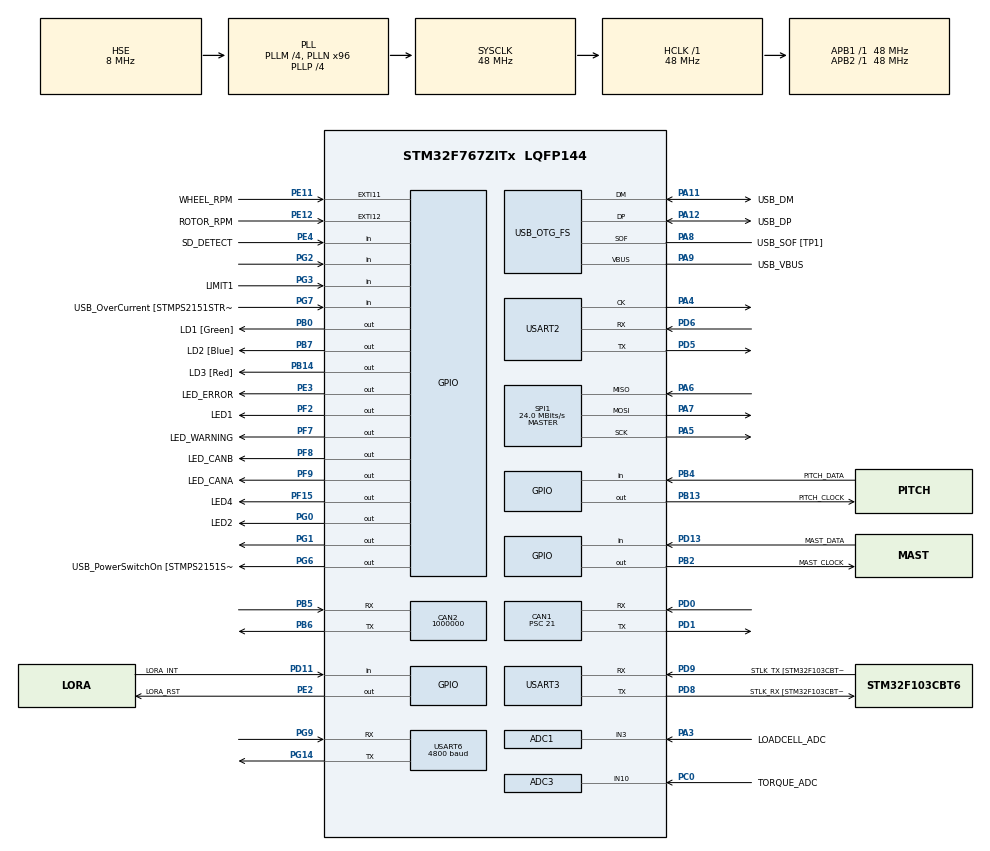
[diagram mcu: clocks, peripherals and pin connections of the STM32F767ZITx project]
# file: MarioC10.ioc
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ADC1.Channel-0\#ChannelRegularConversion=ADC_CHANNEL_3
ADC1.ClockPrescaler=ADC_CLOCK_SYNC_PCLK_DIV4
ADC1.NbrOfConversionFlag=1
ADC1.Rank-0\#ChannelRegularConversion=1
ADC1.SamplingTime-0\#ChannelRegularConversion=ADC_SAMPLETIME_3CYCLES
ADC1.master=1
ADC3.Channel-2\#ChannelRegularConversion=ADC_CHANNEL_10
ADC3.ClockPrescaler=ADC_CLOCK_SYNC_PCLK_DIV4
ADC3.NbrOfConversionFlag=1
ADC3.Rank-2\#ChannelRegularConversion=1
ADC3.SamplingTime-2\#ChannelRegularConversion=ADC_SAMPLETIME_3CYCLES
CAN1.BS1=CAN_BS1_12TQ
CAN1.BS2=CAN_BS2_4TQ
CAN1.CalculateBaudRate=134453
CAN1.CalculateTimeBit=7437
CAN1.CalculateTimeQuantum=437.5
CAN1.Prescaler=21
CAN2.CalculateBaudRate=1000000
CAN2.CalculateTimeBit=1000
CAN2.CalculateTimeQuantum=333.3333333333333
Mcu.Family=STM32F7
Mcu.Name=STM32F767ZITx
Mcu.Package=LQFP144
NVIC.CAN1_RX0_IRQn=true\:0\:0\:false\:false\:true\:true\:true
NVIC.EXTI15_10_IRQn=true\:0\:0\:false\:false\:true\:true\:true
NVIC.PriorityGroup=NVIC_PRIORITYGROUP_4
NVIC.TIM3_IRQn=true\:0\:0\:false\:false\:true\:true\:true
NVIC.USART6_IRQn=true\:0\:0\:false\:false\:true\:true\:true
PA1.GPIO_Label=RMII_REF_CLK [LAN8742A-CZ-TR_REFCLK0]
PA1.Signal=ETH_REF_CLK
PA10.GPIO_Label=USB_ID
PA10.Signal=USB_OTG_FS_ID
PA11.GPIO_Label=USB_DM
PA11.Mode=Device_Only
PA11.Signal=USB_OTG_FS_DM
PA12.GPIO_Label=USB_DP
PA12.Mode=Device_Only
PA12.Signal=USB_OTG_FS_DP
PA13.GPIO_Label=TMS
PA13.Mode=Serial_Wire
PA13.Signal=SYS_JTMS-SWDIO
PA14.GPIO_Label=TCK
PA14.Mode=Serial_Wire
PA14.Signal=SYS_JTCK-SWCLK
PA2.GPIO_Label=RMII_MDIO [LAN8742A-CZ-TR_MDIO]
PA2.Signal=ETH_MDIO
PA3.GPIO_Label=LOADCELL_ADC
PA3.Signal=ADCx_IN3
PA4.Mode=Synchronous
PA4.Signal=USART2_CK
PA5.Mode=Full_Duplex_Master
PA5.Signal=SPI1_SCK
PA6.Mode=Full_Duplex_Master
PA6.Signal=SPI1_MISO
PA7.Mode=Full_Duplex_Master
PA7.Signal=SPI1_MOSI
PA8.GPIO_Label=USB_SOF [TP1]
PA8.Mode=Activate_SOF_FS
PA8.Signal=USB_OTG_FS_SOF
PA9.GPIO_Label=USB_VBUS
PA9.Mode=Activate_VBUS
PA9.Signal=USB_OTG_FS_VBUS
PB0.GPIO_Label=LD1 [Green]
PB0.Signal=GPIO_Output
PB13.GPIO_Label=PITCH_CLOCK
PB13.Signal=GPIO_Output
PB14.GPIO_Label=LD3 [Red]
PB14.Signal=GPIO_Output
PB2.GPIO_Label=MAST_CLOCK
PB2.Signal=GPIO_Output
PB3.GPIO_Label=SWO
PB3.Signal=SYS_JTDO-SWO
PB4.GPIO_Label=PITCH_DATA
PB4.Signal=GPIO_Input
PB5.Mode=CAN_Activate
PB5.Signal=CAN2_RX
PB6.Mode=CAN_Activate
PB6.Signal=CAN2_TX
PB7.GPIO_Label=LD2 [Blue]
PB7.Signal=GPIO_Output
PC0.GPIO_Label=TORQUE_ADC
PC0.Signal=ADCx_IN10
PC1.GPIO_Label=RMII_MDC [LAN8742A-CZ-TR_MDC]
PC1.Signal=ETH_MDC
PC14/OSC32_IN.Mode=LSE-External-Oscillator
PC14/OSC32_IN.Signal=RCC_OSC32_IN
PC15/OSC32_OUT.Mode=LSE-External-Oscillator
PC15/OSC32_OUT.Signal=RCC_OSC32_OUT
PD0.Mode=CAN_Activate
PD0.Signal=CAN1_RX
PD1.Mode=CAN_Activate
PD1.Signal=CAN1_TX
PD11.GPIO_Label=LORA_INT
PD11.Signal=GPIO_Input
PD13.GPIO_Label=MAST_DATA
PD13.Signal=GPIO_Input
PD3.Signal=USART2_CTS
PD4.Signal=USART2_RTS
PD5.Mode=Synchronous
PD5.Signal=USART2_TX
PD6.Mode=Synchronous
PD6.Signal=USART2_RX
PD8.GPIO_Label=STLK_RX [STM32F103CBT6_PA3]
PD8.Mode=Asynchronous
PD8.Signal=USART3_TX
PD9.GPIO_Label=STLK_TX [STM32F103CBT6_PA2]
PD9.Mode=Asynchronous
PD9.Signal=USART3_RX
PE11.GPIO_Label=WHEEL_RPM
PE11.Signal=GPXTI11
PE12.GPIO_Label=ROTOR_RPM
PE12.Signal=GPXTI12
PE2.GPIO_Label=LORA_RST
PE2.Signal=GPIO_Output
PE3.GPIO_Label=LED_ERROR
PE3.Signal=GPIO_Output
PE4.GPIO_Label=SD_DETECT
PE4.Signal=GPIO_Input
PF15.GPIO_Label=LED4
PF15.Signal=GPIO_Output
PF2.GPIO_Label=LED1
PF2.Signal=GPIO_Output
PF7.GPIO_Label=LED_WARNING
PF7.Signal=GPIO_Output
PF8.GPIO_Label=LED_CANB
PF8.Signal=GPIO_Output
PF9.GPIO_Label=LED_CANA
PF9.Signal=GPIO_Output
PG0.GPIO_Label=LED2
PG0.Signal=GPIO_Output
PG1.Signal=GPIO_Output
PG11.GPIO_Label=RMII_TX_EN [LAN8742A-CZ-TR_TXEN]
PG11.Signal=ETH_TX_EN
PG13.GPIO_Label=RMII_TXD0 [LAN8742A-CZ-TR_TXD0]
PG13.Signal=ETH_TXD0
PG14.Mode=Asynchronous
PG14.Signal=USART6_TX
PG2.Signal=GPIO_Input
PG3.GPIO_Label=LIMIT1
PG3.Signal=GPIO_Input
PG6.GPIO_Label=USB_PowerSwitchOn [STMPS2151STR_EN]
PG6.Signal=GPIO_Output
PG7.GPIO_Label=USB_OverCurrent [STMPS2151STR_FAULT]
PG7.Signal=GPIO_Input
PG9.Mode=Asynchronous
PG9.Signal=USART6_RX
PH0/OSC_IN.GPIO_Label=MCO [STM32F103CBT6_PA8]
PH0/OSC_IN.Mode=HSE-External-Clock-Source
PH0/OSC_IN.Signal=RCC_OSC_IN
PH1/OSC_OUT.Mode=HSE-External-Clock-Source
PH1/OSC_OUT.Signal=RCC_OSC_OUT
ProjectManager.HeapSize=0x200
ProjectManager.StackSize=0x400
ProjectManager.TargetToolchain=STM32CubeIDE
RCC.48MHZClocksFreq_Value=24000000
RCC.AHBFreq_Value=48000000
RCC.APB1Freq_Value=48000000
RCC.APB1TimFreq_Value=48000000
RCC.APB2Freq_Value=48000000
RCC.APB2TimFreq_Value=48000000
RCC.CortexFreq_Value=48000000
RCC.HCLKFreq_Value=48000000
RCC.HSE_VALUE=8000000
RCC.HSI_VALUE=16000000
RCC.PLLM=4
RCC.PLLMUL=RCC_PLL_MUL9
RCC.PLLN=96
RCC.PLLP=RCC_PLLP_DIV4
RCC.PLLQ=4
RCC.PRESCALERUSB=RCC_USBCLKSOURCE_PLL_DIV1_5
RCC.SYSCLKFreq_VALUE=48000000
RCC.SYSCLKSource=RCC_SYSCLKSOURCE_PLLCLK
RCC.SYSCLKSourceVirtual=RCC_SYSCLKSOURCE_PLLCLK
RCC.USBFreq_Value=48000000
RCC.VCOOutputFreq_Value=192000000
SH.ADCx_IN10.0=ADC3_IN10,IN10
SH.ADCx_IN3.0=ADC1_IN3,IN3
SPI1.CalculateBaudRate=24.0 MBits/s
SPI1.Direction=SPI_DIRECTION_2LINES
SPI1.Mode=SPI_MODE_MASTER
SPI1.VirtualType=VM_MASTER
TIM3.Channel-Output\ Compare1\ No\ Output=TIM_CHANNEL_1
TIM3.Period=20000
TIM3.Prescaler=480
USART2.VirtualMode-Synchronous=VM_SYNC
USART3.VirtualMode-Asynchronous=VM_ASYNC
USART6.BaudRate=4800
USART6.VirtualMode-Asynchronous=VM_ASYNC
USB_OTG_FS.VirtualMode=Device_Only
VP_TIM3_VS_ClockSourceINT.Mode=Internal
VP_TIM3_VS_no_output1.Mode=Output Compare1 No Output
board=NUCLEO-F767ZI

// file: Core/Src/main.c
/* USER CODE BEGIN Header */
/**
  ******************************************************************************
  * @file           : main.c
  * @brief          : Main program body
  ******************************************************************************
  * @attention
  *
  * <h2><center>&copy; Copyright (c) 2021 STMicroelectronics.
  * All rights reserved.</center></h2>
  *
  * This software component is licensed by ST under BSD 3-Clause license,
  * the "License"; You may not use this file except in compliance with the
  * License. You may obtain a copy of the License at:
  *                        opensource.org/licenses/BSD-3-Clause
  *
  ******************************************************************************
  */
/* USER CODE END Header */
#include "main.h"

/* USER CODE BEGIN Includes */
#include "string.h"
#include "stdio.h"
/* USER CODE END Includes */

ADC_HandleTypeDef hadc1;
ADC_HandleTypeDef hadc3;

CAN_HandleTypeDef hcan1;
CAN_HandleTypeDef hcan2;

SPI_HandleTypeDef hspi1;

TIM_HandleTypeDef htim3;

USART_HandleTypeDef husart2;
UART_HandleTypeDef huart3;
UART_HandleTypeDef huart6;

PCD_HandleTypeDef hpcd_USB_OTG_FS;

/* USER CODE BEGIN PV */
uint8_t aRxBuffer[256];
/* USER CODE END PV */

void SystemClock_Config(void);
static void MX_GPIO_Init(void);
static void MX_USB_OTG_FS_PCD_Init(void);
static void MX_CAN1_Init(void);
static void MX_ADC1_Init(void);
static void MX_ADC3_Init(void);
static void MX_CAN2_Init(void);
static void MX_SPI1_Init(void);
static void MX_USART2_Init(void);
static void MX_USART6_UART_Init(void);
static void MX_USART3_UART_Init(void);
static void MX_TIM3_Init(void);
/* USER CODE BEGIN PFP */

HAL_StatusTypeDef TransmitCAN(uint8_t id, uint8_t* buf, uint8_t size);

/* USER CODE END PFP */

/* USER CODE BEGIN 0 */
HAL_StatusTypeDef TransmitCAN(uint8_t id, uint8_t* buf, uint8_t size)
{
	CAN_TxHeaderTypeDef msg;
	msg.StdId = id;
	msg.IDE = CAN_ID_STD;
	msg.RTR = CAN_RTR_DATA;
	msg.DLC = size;
	msg.TransmitGlobalTime = DISABLE;

	uint32_t mb;
	HAL_StatusTypeDef ret = HAL_CAN_AddTxMessage(&hcan1, &msg, buf, &mb);
	if (ret != HAL_OK)
		return ret;

	// Update the CAN led
	// ToggleLed(LED_CAN);
	HAL_GPIO_TogglePin(LED_CANA_GPIO_Port, LED_CANA_Pin);
	return ret;
}
/* USER CODE END 0 */

int main(void)
{
  /* USER CODE BEGIN 1 */
	index_buff = 0;
	ws_receive_flag = 0;
	timer3_flag = 0;
	wheel_rpm_speed = 0;
	rotor_rpm_speed = 0;

	can1_recv_flag = 0;

  /* USER CODE END 1 */

  /* MCU Configuration--------------------------------------------------------*/

  /* Reset of all peripherals, Initializes the Flash interface and the Systick. */
  HAL_Init();

  /* Configure the system clock */
  SystemClock_Config();

  /* Initialize all configured peripherals */
  MX_GPIO_Init();
  MX_USB_OTG_FS_PCD_Init();
  MX_CAN1_Init();
  MX_ADC1_Init();
  MX_ADC3_Init();
  MX_CAN2_Init();
  MX_SPI1_Init();
  MX_USART2_Init();
  MX_USART6_UART_Init();
  MX_USART3_UART_Init();
  MX_TIM3_Init();
  /* USER CODE BEGIN 2 */
  HAL_UART_Receive_IT(&huart6, (uint8_t *)aRxBuffer, sizeof(aRxBuffer));
  /* USER CODE END 2 */

  /* Infinite loop */
  while (1)
  {

    /* USER CODE BEGIN 3 */

	  HAL_Delay(10); // Execute main loop every 10 ms

	  // Check pushbuttons status
	  // uint8_t pb1_val = HAL_GPIO_ReadPin();

	  if(timer3_flag == 1)
	  {
		  timer3_flag = 0;

		  // Send CAN frame
		  static uint8_t x = 0;
		  uint8_t data[4] = { 0,1,2,x++ };
		  HAL_StatusTypeDef can_success = TransmitCAN(0xAA, data, 4);
		  if (can_success != HAL_OK)
		  {
			  HAL_GPIO_WritePin(LED_ERROR_GPIO_Port, LED_ERROR_Pin, 1);
		  }
		  else
		  {
			  HAL_GPIO_WritePin(LED_ERROR_GPIO_Port, LED_ERROR_Pin, 0);
		  }

		  // Blink led
		  HAL_GPIO_TogglePin(LD1_GPIO_Port, LD1_Pin);		// Led 1 on nucleo
		  HAL_GPIO_TogglePin(LED1_GPIO_Port, LED1_Pin);

		  /*
		  uint8_t message[256] = {0};
		  snprintf((char*)message, sizeof(message), "Wheel RPM = %u \n\r", (unsigned int)wheel_rpm_speed);
		  HAL_UART_Transmit(&huart3, message, sizeof(message), 10);

		  snprintf((char*)message, sizeof(message), "Rotor RPM = %u \n\r", (unsigned int)rotor_rpm_speed);
		  HAL_UART_Transmit(&huart3, message, sizeof(message), 10);
		  */
	  }

	  // Check for can messages
	  if (can1_recv_flag)
	  {
		  can1_recv_flag = 0;

		  // Blink LED CANA led
		  HAL_GPIO_TogglePin(LED_CANA_GPIO_Port, LED_CANA_Pin);

		  uint32_t id = pRxHeader.StdId;
		  uint32_t size = pRxHeader.DLC;

		  uint8_t data = can_recv_buffer[0];

		  uint8_t message[256] = {0};
		  snprintf((char*)message, sizeof(message), "Received CAN frame  ID = %d,  size = %d,  data = %d", (int)id, (int)size, (int)data);
		  HAL_UART_Transmit(&huart3, message, sizeof(message), 10);
	  }

	  /*
	  if(ws_receive_flag == 1) {
		  static char frame_begin[] = "$IIMWV";

		  static int Led_Toggle=0;
		  HAL_GPIO_WritePin(LD1_GPIO_Port,LD1_Pin,Led_Toggle);
		  Led_Toggle=!Led_Toggle;

		  __disable_irq();

		  ws_receive_flag =0;
		  index_buff=0;

		  static uint8_t ws_message[64] = {0};
		  memcpy(ws_message,rx_buff,sizeof(ws_message));
		  __enable_irq();

		  HAL_UART_Transmit(&huart3,ws_message,sizeof(ws_message),10);
		  /*if (strlen((char*)ws_message) >= 6){

			  uint8_t begin_frame[7]={0};
			  memcpy(begin_frame,ws_message,6);

			 		  if (0 ==strcmp(begin_frame,frame_begin))
			 		  {

			 			  HAL_UART_Transmit(&huart3,ws_message,sizeof(ws_message),10);

			 		  }
		  }*/

		  /*
		  static uint8_t ws_message[64];
		  memcpy(ws_message,rx_buff,sizeof(ws_message));

		  //char vitesse[7]="";
		  char begin_tram[6]="";
		  memcpy(begin_tram,ws_message,sizeof(begin_tram));
		  begin_tram[5]=0;
		  if(!strcmp(frame_begin,begin_tram)){
			  //memcpy(vitesse,ws_message,sizeof(ws_message));
			  //vitesse[10]=ws_message;
			  //HAL_UART_Transmit(&huart3,vitesse,sizeof(vitesse),10);
			  HAL_UART_Transmit(&huart3,ws_message,sizeof(ws_message),10);

		  }

		 // ws_message[index_buff]=0;

		  //HAL_UART_Transmit(&huart3,ws_message,sizeof(ws_message),10);// Sending in normal mode

	  }*/
  }
  /* USER CODE END 3 */
}

void SystemClock_Config(void)
{
  RCC_OscInitTypeDef RCC_OscInitStruct = {0};
  RCC_ClkInitTypeDef RCC_ClkInitStruct = {0};

  /** Configure LSE Drive Capability
  */
  HAL_PWR_EnableBkUpAccess();
  /** Configure the main internal regulator output voltage
  */
  __HAL_RCC_PWR_CLK_ENABLE();
  __HAL_PWR_VOLTAGESCALING_CONFIG(PWR_REGULATOR_VOLTAGE_SCALE3);
  /** Initializes the RCC Oscillators according to the specified parameters
  * in the RCC_OscInitTypeDef structure.
  */
  RCC_OscInitStruct.OscillatorType = RCC_OSCILLATORTYPE_HSE;
  RCC_OscInitStruct.HSEState = RCC_HSE_BYPASS;
  RCC_OscInitStruct.PLL.PLLState = RCC_PLL_ON;
  RCC_OscInitStruct.PLL.PLLSource = RCC_PLLSOURCE_HSE;
  RCC_OscInitStruct.PLL.PLLM = 4;
  RCC_OscInitStruct.PLL.PLLN = 96;
  RCC_OscInitStruct.PLL.PLLP = RCC_PLLP_DIV4;
  RCC_OscInitStruct.PLL.PLLQ = 4;
  RCC_OscInitStruct.PLL.PLLR = 2;
  if (HAL_RCC_OscConfig(&RCC_OscInitStruct) != HAL_OK)
  {
    Error_Handler();
  }
  /** Activate the Over-Drive mode
  */
  if (HAL_PWREx_EnableOverDrive() != HAL_OK)
  {
    Error_Handler();
  }
  /** Initializes the CPU, AHB and APB buses clocks
  */
  RCC_ClkInitStruct.ClockType = RCC_CLOCKTYPE_HCLK|RCC_CLOCKTYPE_SYSCLK
                              |RCC_CLOCKTYPE_PCLK1|RCC_CLOCKTYPE_PCLK2;
  RCC_ClkInitStruct.SYSCLKSource = RCC_SYSCLKSOURCE_PLLCLK;
  RCC_ClkInitStruct.AHBCLKDivider = RCC_SYSCLK_DIV1;
  RCC_ClkInitStruct.APB1CLKDivider = RCC_HCLK_DIV1;
  RCC_ClkInitStruct.APB2CLKDivider = RCC_HCLK_DIV1;

  if (HAL_RCC_ClockConfig(&RCC_ClkInitStruct, FLASH_LATENCY_1) != HAL_OK)
  {
    Error_Handler();
  }
}

static void MX_ADC1_Init(void)
{

  ADC_ChannelConfTypeDef sConfig = {0};

  /** Configure the global features of the ADC (Clock, Resolution, Data Alignment and number of conversion)
  */
  hadc1.Instance = ADC1;
  hadc1.Init.ClockPrescaler = ADC_CLOCK_SYNC_PCLK_DIV4;
  hadc1.Init.Resolution = ADC_RESOLUTION_12B;
  hadc1.Init.ScanConvMode = ADC_SCAN_DISABLE;
  hadc1.Init.ContinuousConvMode = DISABLE;
  hadc1.Init.DiscontinuousConvMode = DISABLE;
  hadc1.Init.ExternalTrigConvEdge = ADC_EXTERNALTRIGCONVEDGE_NONE;
  hadc1.Init.ExternalTrigConv = ADC_SOFTWARE_START;
  hadc1.Init.DataAlign = ADC_DATAALIGN_RIGHT;
  hadc1.Init.NbrOfConversion = 1;
  hadc1.Init.DMAContinuousRequests = DISABLE;
  hadc1.Init.EOCSelection = ADC_EOC_SINGLE_CONV;
  if (HAL_ADC_Init(&hadc1) != HAL_OK)
  {
    Error_Handler();
  }
  /** Configure for the selected ADC regular channel its corresponding rank in the sequencer and its sample time.
  */
  sConfig.Channel = ADC_CHANNEL_3;
  sConfig.Rank = ADC_REGULAR_RANK_1;
  sConfig.SamplingTime = ADC_SAMPLETIME_3CYCLES;
  if (HAL_ADC_ConfigChannel(&hadc1, &sConfig) != HAL_OK)
  {
    Error_Handler();
  }

}

static void MX_ADC3_Init(void)
{

  ADC_ChannelConfTypeDef sConfig = {0};

  /** Configure the global features of the ADC (Clock, Resolution, Data Alignment and number of conversion)
  */
  hadc3.Instance = ADC3;
  hadc3.Init.ClockPrescaler = ADC_CLOCK_SYNC_PCLK_DIV4;
  hadc3.Init.Resolution = ADC_RESOLUTION_12B;
  hadc3.Init.ScanConvMode = ADC_SCAN_DISABLE;
  hadc3.Init.ContinuousConvMode = DISABLE;
  hadc3.Init.DiscontinuousConvMode = DISABLE;
  hadc3.Init.ExternalTrigConvEdge = ADC_EXTERNALTRIGCONVEDGE_NONE;
  hadc3.Init.ExternalTrigConv = ADC_SOFTWARE_START;
  hadc3.Init.DataAlign = ADC_DATAALIGN_RIGHT;
  hadc3.Init.NbrOfConversion = 1;
  hadc3.Init.DMAContinuousRequests = DISABLE;
  hadc3.Init.EOCSelection = ADC_EOC_SINGLE_CONV;
  if (HAL_ADC_Init(&hadc3) != HAL_OK)
  {
    Error_Handler();
  }
  /** Configure for the selected ADC regular channel its corresponding rank in the sequencer and its sample time.
  */
  sConfig.Channel = ADC_CHANNEL_10;
  sConfig.Rank = ADC_REGULAR_RANK_1;
  sConfig.SamplingTime = ADC_SAMPLETIME_3CYCLES;
  if (HAL_ADC_ConfigChannel(&hadc3, &sConfig) != HAL_OK)
  {
    Error_Handler();
  }

}

static void MX_CAN1_Init(void)
{

  hcan1.Instance = CAN1;
  hcan1.Init.Prescaler = 21;
  hcan1.Init.Mode = CAN_MODE_NORMAL;
  hcan1.Init.SyncJumpWidth = CAN_SJW_1TQ;
  hcan1.Init.TimeSeg1 = CAN_BS1_12TQ;
  hcan1.Init.TimeSeg2 = CAN_BS2_4TQ;
  hcan1.Init.TimeTriggeredMode = DISABLE;
  hcan1.Init.AutoBusOff = DISABLE;
  hcan1.Init.AutoWakeUp = DISABLE;
  hcan1.Init.AutoRetransmission = DISABLE;
  hcan1.Init.ReceiveFifoLocked = DISABLE;
  hcan1.Init.TransmitFifoPriority = DISABLE;
  if (HAL_CAN_Init(&hcan1) != HAL_OK)
  {
    Error_Handler();
  }
  /* USER CODE BEGIN CAN1_Init 2 */
  	CAN_FilterTypeDef sf;
	sf.FilterMaskIdHigh = 0x0000;
	sf.FilterMaskIdLow = 0x0000;
	sf.FilterFIFOAssignment = CAN_FILTER_FIFO0;
	sf.FilterBank = 0;
	sf.FilterMode = CAN_FILTERMODE_IDMASK;
	sf.FilterScale = CAN_FILTERSCALE_32BIT;
	sf.FilterActivation = CAN_FILTER_ENABLE;
	if (HAL_CAN_ConfigFilter(&hcan1, &sf) != HAL_OK)
	{
	  Error_Handler();
	}
	//if (HAL_CAN_RegisterCallback(&hcan1, HAL_CAN_RX_FIFO0_MSG_PENDING_CB_ID, can_irq))
	//{
	//	  Error_Handler();
	//}
	if (HAL_CAN_Start(&hcan1) != HAL_OK)
	{
		Error_Handler();
	}
	if (HAL_CAN_ActivateNotification(&hcan1, CAN_IT_RX_FIFO0_MSG_PENDING) != HAL_OK)
	{
		Error_Handler();
	}
  /* USER CODE END CAN1_Init 2 */

}

static void MX_CAN2_Init(void)
{

  hcan2.Instance = CAN2;
  hcan2.Init.Prescaler = 16;
  hcan2.Init.Mode = CAN_MODE_NORMAL;
  hcan2.Init.SyncJumpWidth = CAN_SJW_1TQ;
  hcan2.Init.TimeSeg1 = CAN_BS1_1TQ;
  hcan2.Init.TimeSeg2 = CAN_BS2_1TQ;
  hcan2.Init.TimeTriggeredMode = DISABLE;
  hcan2.Init.AutoBusOff = DISABLE;
  hcan2.Init.AutoWakeUp = DISABLE;
  hcan2.Init.AutoRetransmission = DISABLE;
  hcan2.Init.ReceiveFifoLocked = DISABLE;
  hcan2.Init.TransmitFifoPriority = DISABLE;
  if (HAL_CAN_Init(&hcan2) != HAL_OK)
  {
    Error_Handler();
  }

}

static void MX_SPI1_Init(void)
{

  /* SPI1 parameter configuration*/
  hspi1.Instance = SPI1;
  hspi1.Init.Mode = SPI_MODE_MASTER;
  hspi1.Init.Direction = SPI_DIRECTION_2LINES;
  hspi1.Init.DataSize = SPI_DATASIZE_4BIT;
  hspi1.Init.CLKPolarity = SPI_POLARITY_LOW;
  hspi1.Init.CLKPhase = SPI_PHASE_1EDGE;
  hspi1.Init.NSS = SPI_NSS_SOFT;
  hspi1.Init.BaudRatePrescaler = SPI_BAUDRATEPRESCALER_2;
  hspi1.Init.FirstBit = SPI_FIRSTBIT_MSB;
  hspi1.Init.TIMode = SPI_TIMODE_DISABLE;
  hspi1.Init.CRCCalculation = SPI_CRCCALCULATION_DISABLE;
  hspi1.Init.CRCPolynomial = 7;
  hspi1.Init.CRCLength = SPI_CRC_LENGTH_DATASIZE;
  hspi1.Init.NSSPMode = SPI_NSS_PULSE_ENABLE;
  if (HAL_SPI_Init(&hspi1) != HAL_OK)
  {
    Error_Handler();
  }

}

static void MX_TIM3_Init(void)
{

  TIM_ClockConfigTypeDef sClockSourceConfig = {0};
  TIM_MasterConfigTypeDef sMasterConfig = {0};
  TIM_OC_InitTypeDef sConfigOC = {0};

  htim3.Instance = TIM3;
  htim3.Init.Prescaler = 480;
  htim3.Init.CounterMode = TIM_COUNTERMODE_UP;
  htim3.Init.Period = 20000;
  htim3.Init.ClockDivision = TIM_CLOCKDIVISION_DIV1;
  htim3.Init.AutoReloadPreload = TIM_AUTORELOAD_PRELOAD_DISABLE;
  if (HAL_TIM_Base_Init(&htim3) != HAL_OK)
  {
    Error_Handler();
  }
  sClockSourceConfig.ClockSource = TIM_CLOCKSOURCE_INTERNAL;
  if (HAL_TIM_ConfigClockSource(&htim3, &sClockSourceConfig) != HAL_OK)
  {
    Error_Handler();
  }
  if (HAL_TIM_OC_Init(&htim3) != HAL_OK)
  {
    Error_Handler();
  }
  sMasterConfig.MasterOutputTrigger = TIM_TRGO_RESET;
  sMasterConfig.MasterSlaveMode = TIM_MASTERSLAVEMODE_DISABLE;
  if (HAL_TIMEx_MasterConfigSynchronization(&htim3, &sMasterConfig) != HAL_OK)
  {
    Error_Handler();
  }
  sConfigOC.OCMode = TIM_OCMODE_TIMING;
  sConfigOC.Pulse = 0;
  sConfigOC.OCPolarity = TIM_OCPOLARITY_HIGH;
  sConfigOC.OCFastMode = TIM_OCFAST_DISABLE;
  if (HAL_TIM_OC_ConfigChannel(&htim3, &sConfigOC, TIM_CHANNEL_1) != HAL_OK)
  {
    Error_Handler();
  }
  /* USER CODE BEGIN TIM3_Init 2 */
  HAL_TIM_Base_Start_IT(&htim3);
  /* USER CODE END TIM3_Init 2 */

}

static void MX_USART2_Init(void)
{

  husart2.Instance = USART2;
  husart2.Init.BaudRate = 115200;
  husart2.Init.WordLength = USART_WORDLENGTH_8B;
  husart2.Init.StopBits = USART_STOPBITS_1;
  husart2.Init.Parity = USART_PARITY_NONE;
  husart2.Init.Mode = USART_MODE_TX_RX;
  husart2.Init.CLKPolarity = USART_POLARITY_LOW;
  husart2.Init.CLKPhase = USART_PHASE_1EDGE;
  husart2.Init.CLKLastBit = USART_LASTBIT_DISABLE;
  if (HAL_USART_Init(&husart2) != HAL_OK)
  {
    Error_Handler();
  }

}

static void MX_USART3_UART_Init(void)
{

  huart3.Instance = USART3;
  huart3.Init.BaudRate = 115200;
  huart3.Init.WordLength = UART_WORDLENGTH_8B;
  huart3.Init.StopBits = UART_STOPBITS_1;
  huart3.Init.Parity = UART_PARITY_NONE;
  huart3.Init.Mode = UART_MODE_TX_RX;
  huart3.Init.HwFlowCtl = UART_HWCONTROL_NONE;
  huart3.Init.OverSampling = UART_OVERSAMPLING_16;
  huart3.Init.OneBitSampling = UART_ONE_BIT_SAMPLE_DISABLE;
  huart3.AdvancedInit.AdvFeatureInit = UART_ADVFEATURE_NO_INIT;
  if (HAL_UART_Init(&huart3) != HAL_OK)
  {
    Error_Handler();
  }

}

static void MX_USART6_UART_Init(void)
{

  huart6.Instance = USART6;
  huart6.Init.BaudRate = 4800;
  huart6.Init.WordLength = UART_WORDLENGTH_8B;
  huart6.Init.StopBits = UART_STOPBITS_1;
  huart6.Init.Parity = UART_PARITY_NONE;
  huart6.Init.Mode = UART_MODE_TX_RX;
  huart6.Init.HwFlowCtl = UART_HWCONTROL_NONE;
  huart6.Init.OverSampling = UART_OVERSAMPLING_16;
  huart6.Init.OneBitSampling = UART_ONE_BIT_SAMPLE_DISABLE;
  huart6.AdvancedInit.AdvFeatureInit = UART_ADVFEATURE_NO_INIT;
  if (HAL_UART_Init(&huart6) != HAL_OK)
  {
    Error_Handler();
  }

}

static void MX_USB_OTG_FS_PCD_Init(void)
{

  hpcd_USB_OTG_FS.Instance = USB_OTG_FS;
  hpcd_USB_OTG_FS.Init.dev_endpoints = 6;
  hpcd_USB_OTG_FS.Init.speed = PCD_SPEED_FULL;
  hpcd_USB_OTG_FS.Init.dma_enable = DISABLE;
  hpcd_USB_OTG_FS.Init.phy_itface = PCD_PHY_EMBEDDED;
  hpcd_USB_OTG_FS.Init.Sof_enable = ENABLE;
  hpcd_USB_OTG_FS.Init.low_power_enable = DISABLE;
  hpcd_USB_OTG_FS.Init.lpm_enable = DISABLE;
  hpcd_USB_OTG_FS.Init.vbus_sensing_enable = ENABLE;
  hpcd_USB_OTG_FS.Init.use_dedicated_ep1 = DISABLE;
  if (HAL_PCD_Init(&hpcd_USB_OTG_FS) != HAL_OK)
  {
    Error_Handler();
  }

}

static void MX_GPIO_Init(void)
{
  GPIO_InitTypeDef GPIO_InitStruct = {0};

  /* GPIO Ports Clock Enable */
  __HAL_RCC_GPIOE_CLK_ENABLE();
  __HAL_RCC_GPIOC_CLK_ENABLE();
  __HAL_RCC_GPIOF_CLK_ENABLE();
  __HAL_RCC_GPIOH_CLK_ENABLE();
  __HAL_RCC_GPIOA_CLK_ENABLE();
  __HAL_RCC_GPIOB_CLK_ENABLE();
  __HAL_RCC_GPIOG_CLK_ENABLE();
  __HAL_RCC_GPIOD_CLK_ENABLE();

  /*Configure GPIO pin Output Level */
  HAL_GPIO_WritePin(GPIOE, LORA_RST_Pin|LED_ERROR_Pin, GPIO_PIN_RESET);

  /*Configure GPIO pin Output Level */
  HAL_GPIO_WritePin(GPIOF, LED1_Pin|LED_WARNING_Pin|LED_CANB_Pin|LED_CANA_Pin
                          |LED4_Pin, GPIO_PIN_RESET);

  /*Configure GPIO pin Output Level */
  HAL_GPIO_WritePin(GPIOB, LD1_Pin|MAST_CLOCK_Pin|PITCH_CLOCK_Pin|LD3_Pin
                          |LD2_Pin, GPIO_PIN_RESET);

  /*Configure GPIO pin Output Level */
  HAL_GPIO_WritePin(GPIOG, LED2_Pin|GPIO_PIN_1|USB_PowerSwitchOn_Pin, GPIO_PIN_RESET);

  /*Configure GPIO pins : LORA_RST_Pin LED_ERROR_Pin */
  GPIO_InitStruct.Pin = LORA_RST_Pin|LED_ERROR_Pin;
  GPIO_InitStruct.Mode = GPIO_MODE_OUTPUT_PP;
  GPIO_InitStruct.Pull = GPIO_NOPULL;
  GPIO_InitStruct.Speed = GPIO_SPEED_FREQ_LOW;
  HAL_GPIO_Init(GPIOE, &GPIO_InitStruct);

  /*Configure GPIO pin : SD_DETECT_Pin */
  GPIO_InitStruct.Pin = SD_DETECT_Pin;
  GPIO_InitStruct.Mode = GPIO_MODE_INPUT;
  GPIO_InitStruct.Pull = GPIO_NOPULL;
  HAL_GPIO_Init(SD_DETECT_GPIO_Port, &GPIO_InitStruct);

  /*Configure GPIO pins : LED1_Pin LED_WARNING_Pin LED_CANB_Pin LED_CANA_Pin
                           LED4_Pin */
  GPIO_InitStruct.Pin = LED1_Pin|LED_WARNING_Pin|LED_CANB_Pin|LED_CANA_Pin
                          |LED4_Pin;
  GPIO_InitStruct.Mode = GPIO_MODE_OUTPUT_PP;
  GPIO_InitStruct.Pull = GPIO_NOPULL;
  GPIO_InitStruct.Speed = GPIO_SPEED_FREQ_LOW;
  HAL_GPIO_Init(GPIOF, &GPIO_InitStruct);

  /*Configure GPIO pin : RMII_MDC_Pin */
  GPIO_InitStruct.Pin = RMII_MDC_Pin;
  GPIO_InitStruct.Mode = GPIO_MODE_AF_PP;
  GPIO_InitStruct.Pull = GPIO_NOPULL;
  GPIO_InitStruct.Speed = GPIO_SPEED_FREQ_VERY_HIGH;
  GPIO_InitStruct.Alternate = GPIO_AF11_ETH;
  HAL_GPIO_Init(RMII_MDC_GPIO_Port, &GPIO_InitStruct);

  /*Configure GPIO pins : RMII_REF_CLK_Pin RMII_MDIO_Pin */
  GPIO_InitStruct.Pin = RMII_REF_CLK_Pin|RMII_MDIO_Pin;
  GPIO_InitStruct.Mode = GPIO_MODE_AF_PP;
  GPIO_InitStruct.Pull = GPIO_NOPULL;
  GPIO_InitStruct.Speed = GPIO_SPEED_FREQ_VERY_HIGH;
  GPIO_InitStruct.Alternate = GPIO_AF11_ETH;
  HAL_GPIO_Init(GPIOA, &GPIO_InitStruct);

  /*Configure GPIO pins : LD1_Pin MAST_CLOCK_Pin PITCH_CLOCK_Pin LD3_Pin
                           LD2_Pin */
  GPIO_InitStruct.Pin = LD1_Pin|MAST_CLOCK_Pin|PITCH_CLOCK_Pin|LD3_Pin
                          |LD2_Pin;
  GPIO_InitStruct.Mode = GPIO_MODE_OUTPUT_PP;
  GPIO_InitStruct.Pull = GPIO_NOPULL;
  GPIO_InitStruct.Speed = GPIO_SPEED_FREQ_LOW;
  HAL_GPIO_Init(GPIOB, &GPIO_InitStruct);

  /*Configure GPIO pins : LED2_Pin PG1 USB_PowerSwitchOn_Pin */
  GPIO_InitStruct.Pin = LED2_Pin|GPIO_PIN_1|USB_PowerSwitchOn_Pin;
  GPIO_InitStruct.Mode = GPIO_MODE_OUTPUT_PP;
  GPIO_InitStruct.Pull = GPIO_NOPULL;
  GPIO_InitStruct.Speed = GPIO_SPEED_FREQ_LOW;
  HAL_GPIO_Init(GPIOG, &GPIO_InitStruct);

  /*Configure GPIO pins : WHEEL_RPM_Pin ROTOR_RPM_Pin */
  GPIO_InitStruct.Pin = WHEEL_RPM_Pin|ROTOR_RPM_Pin;
  GPIO_InitStruct.Mode = GPIO_MODE_IT_RISING;
  GPIO_InitStruct.Pull = GPIO_NOPULL;
  HAL_GPIO_Init(GPIOE, &GPIO_InitStruct);

  /*Configure GPIO pins : LORA_INT_Pin MAST_DATA_Pin */
  GPIO_InitStruct.Pin = LORA_INT_Pin|MAST_DATA_Pin;
  GPIO_InitStruct.Mode = GPIO_MODE_INPUT;
  GPIO_InitStruct.Pull = GPIO_NOPULL;
  HAL_GPIO_Init(GPIOD, &GPIO_InitStruct);

  /*Configure GPIO pins : PG2 LIMIT1_Pin USB_OverCurrent_Pin */
  GPIO_InitStruct.Pin = GPIO_PIN_2|LIMIT1_Pin|USB_OverCurrent_Pin;
  GPIO_InitStruct.Mode = GPIO_MODE_INPUT;
  GPIO_InitStruct.Pull = GPIO_NOPULL;
  HAL_GPIO_Init(GPIOG, &GPIO_InitStruct);

  /*Configure GPIO pins : RMII_TX_EN_Pin RMII_TXD0_Pin */
  GPIO_InitStruct.Pin = RMII_TX_EN_Pin|RMII_TXD0_Pin;
  GPIO_InitStruct.Mode = GPIO_MODE_AF_PP;
  GPIO_InitStruct.Pull = GPIO_NOPULL;
  GPIO_InitStruct.Speed = GPIO_SPEED_FREQ_VERY_HIGH;
  GPIO_InitStruct.Alternate = GPIO_AF11_ETH;
  HAL_GPIO_Init(GPIOG, &GPIO_InitStruct);

  /*Configure GPIO pin : PITCH_DATA_Pin */
  GPIO_InitStruct.Pin = PITCH_DATA_Pin;
  GPIO_InitStruct.Mode = GPIO_MODE_INPUT;
  GPIO_InitStruct.Pull = GPIO_NOPULL;
  HAL_GPIO_Init(PITCH_DATA_GPIO_Port, &GPIO_InitStruct);

  /* EXTI interrupt init*/
  HAL_NVIC_SetPriority(EXTI15_10_IRQn, 0, 0);
  HAL_NVIC_EnableIRQ(EXTI15_10_IRQn);

}

void Error_Handler(void)
{
  __disable_irq();
  while (1)
  {
  }
}
